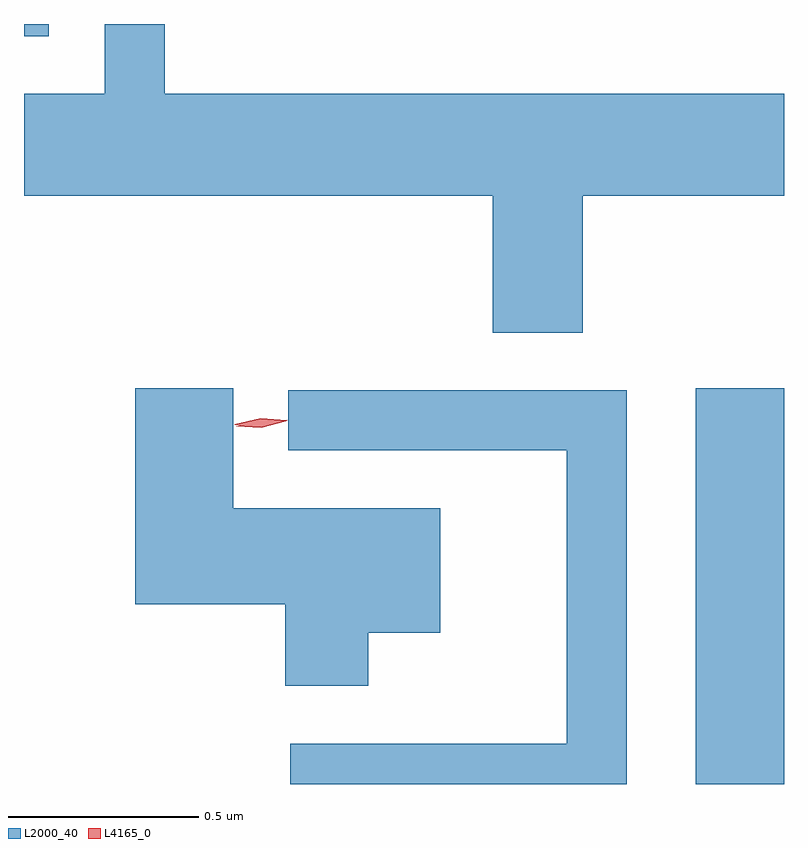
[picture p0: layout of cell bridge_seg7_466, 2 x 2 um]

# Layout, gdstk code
import gdstk
lib = gdstk.Library(unit=1e-6, precision=1e-09)
def R(c, l, rs):  # rectangles x0, y0, x1, y1
    for r in rs: c.add(gdstk.rectangle(r[:2], r[2:], *l))
def P(c, l, *ps):  # polygons
    for p in ps: c.add(gdstk.Polygon(p, *l))
L2000_40 = (2000, 40)
L4165_0 = (4165, 0)

bridge_seg7_466 = lib.new_cell('bridge_seg7_466')
R(bridge_seg7_466, L2000_40, [(1098.451,1699.448,1098.683,1700.489), (1096.683,1701.416,1096.748,1701.448)])
P(bridge_seg7_466, L2000_40, [(1098.154,1700.996),(1098.683,1700.996),(1098.683,1701.264),(1097.054,1701.264),(1097.054,1701.448),(1096.896,1701.448),(1096.896,1701.264),(1096.683,1701.264),(1096.683,1700.996),(1097.916,1700.996),(1097.916,1700.636),(1098.154,1700.636)],
  [(1097.589,1699.846),(1097.779,1699.846),(1097.779,1700.174),(1097.234,1700.174),(1097.234,1700.489),(1096.976,1700.489),(1096.976,1699.921),(1097.371,1699.921),(1097.371,1699.706),(1097.589,1699.706)],
  [(1098.269,1700.484),(1097.378,1700.484),(1097.378,1700.326),(1098.111,1700.326),(1098.111,1699.554),(1097.383,1699.554),(1097.383,1699.448),(1098.269,1699.448)])
P(bridge_seg7_466, L4165_0, [(1097.307,1700.386),(1097.241,1700.389),(1097.24,1700.389),(1097.241,1700.39),(1097.305,1700.406),(1097.372,1700.403),(1097.372,1700.402),(1097.372,1700.402)],
  [(1097.308,1700.39),(1097.238,1700.394),(1097.237,1700.394),(1097.238,1700.395),(1097.306,1700.41),(1097.375,1700.405),(1097.376,1700.405),(1097.375,1700.404)])

lib.write_gds('bridge_seg7_466.gds')
